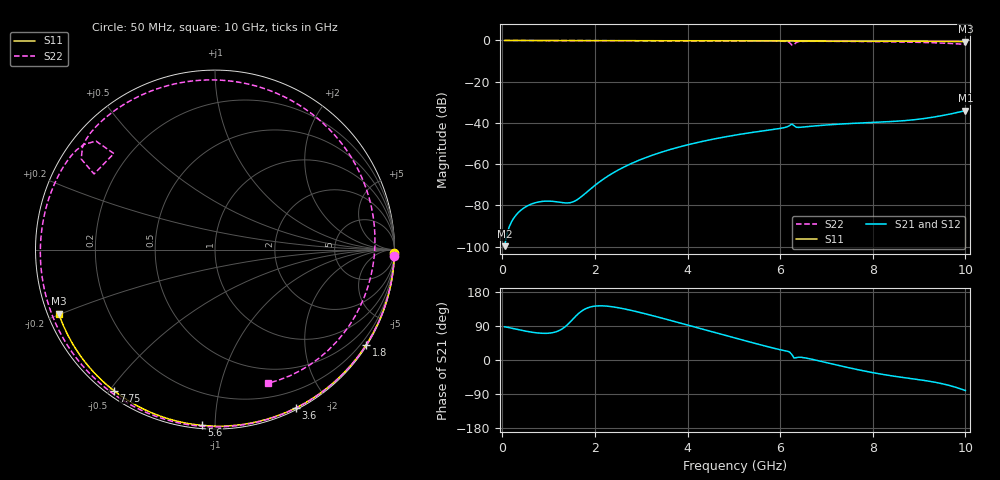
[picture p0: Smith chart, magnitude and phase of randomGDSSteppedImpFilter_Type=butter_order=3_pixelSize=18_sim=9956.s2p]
! freq	dB(S11)	phase(S11)	dB(S12)	phase(S12)
!  dB(S21)	phase(S21)	dB(S22)	phase(S22)
!S-par simulation data
#  GHz  S  DB  R 50
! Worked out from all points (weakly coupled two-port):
!   200 points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, 50 MHz to 10 GHz, reference 50 ohm
!   highest |S21| = -33.97 dB at 10 GHz (marker M1); lowest = -99.7 dB at 50 MHz (marker M2)
!   lowest |S11| = -0.5 dB at 10 GHz (marker M3), VSWR 32.77, Z = 1.58 - j9.83 ohm
!   |S11| at or under -10 dB: nowhere
!   |S22| runs from -2.2 to 0.0 dB; largest |S21 - S12| = 0
!   S11 on the Smith chart (normalised r, x): 50 MHz: open; 1.8 GHz: 0.03, -3.45; 3.6 GHz: 0.02, -1.63; 5.6 GHz: 0.02, -0.93; 7.75 GHz: 0.02, -0.51; 10 GHz: 0.03, -0.20
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0.05  -0.00 -0.9  -99.75 87.7  -99.75 87.7  -0.01 -2.1
0.7  -0.01 -12.7  -78.78 72.3  -78.78 72.3  -0.03 -29.3
1.45  -0.03 -26.1  -78.72 98.3  -78.72 98.3  -0.07 -59.2
1.75  -0.04 -31.4  -74.96 132.0  -74.96 132.0  -0.09 -70.6
1.8  -0.04 -32.3  -74.01 135.3  -74.01 135.3  -0.09 -72.4
2.5  -0.06 -44.5  -62.86 138.1  -62.86 138.1  -0.11 -97.6
3.4  -0.08 -59.6  -54.43 112.1  -54.43 112.1  -0.15 -127.4
3.6  -0.08 -62.9  -53.05 105.5  -53.05 105.5  -0.16 -133.8
5.05  -0.13 -86.0  -45.82 57.2  -45.82 57.2  -0.23 -178.8
5.6  -0.16 -94.4  -43.94 39.3  -43.94 39.3  -0.28 163.5
6.05  -0.18 -101.1  -42.45 25.8  -42.45 25.8  -0.39 146.8
6.2  -0.19 -103.3  -41.31 21.3  -41.31 21.3  -0.94 137.6
6.25  -0.19 -104.0  -40.53 14.9  -40.53 14.9  -2.19 136.5
6.3  -0.19 -104.8  -41.31 5.2  -41.31 5.2  -2.00 148.0
6.35  -0.19 -105.5  -42.10 6.2  -42.10 6.2  -0.91 145.9
6.7  -0.22 -110.6  -41.53 1.6  -41.53 1.6  -0.40 128.3
7.75  -0.29 -125.7  -40.01 -27.4  -40.01 -27.4  -0.51 83.3
8.35  -0.34 -134.2  -39.38 -40.7  -39.38 -40.7  -0.65 52.2
8.85  -0.39 -141.3  -38.54 -49.5  -38.54 -49.5  -0.84 21.8
9.25  -0.44 -146.9  -37.39 -56.7  -37.39 -56.7  -1.07 -6.1
9.6  -0.48 -152.0  -35.99 -65.5  -35.99 -65.5  -1.36 -33.4
10  -0.53 -157.7  -33.97 -80.6  -33.97 -80.6  -1.93 -68.5
